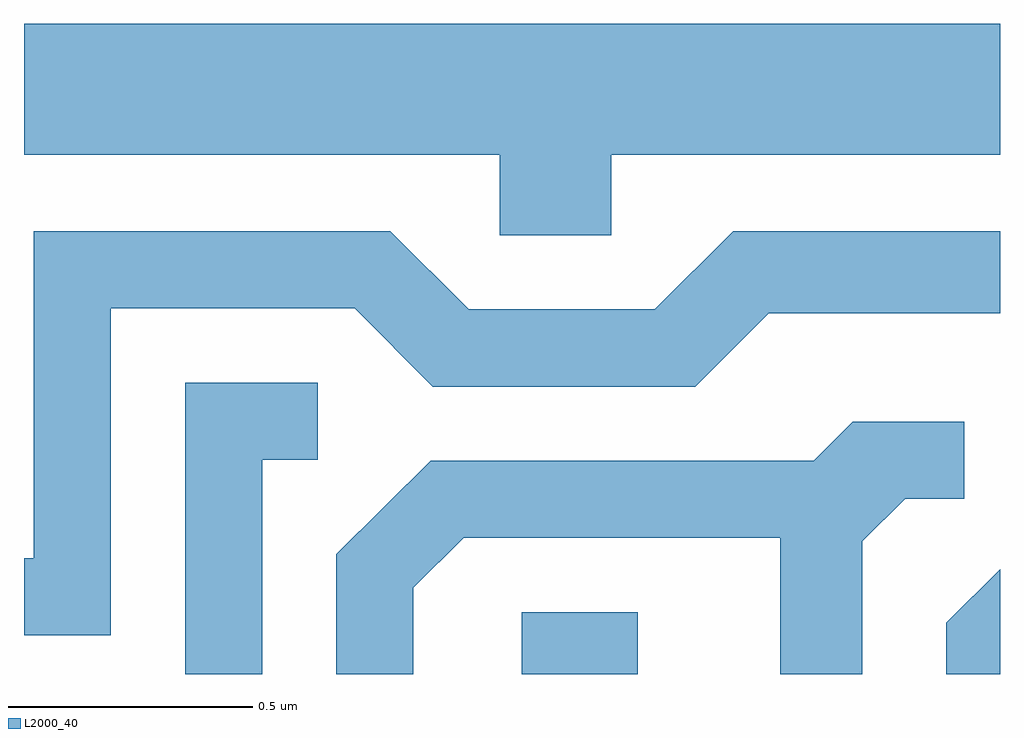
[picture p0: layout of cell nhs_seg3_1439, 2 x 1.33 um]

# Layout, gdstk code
import gdstk
lib = gdstk.Library(unit=1e-6, precision=1e-09)
def R(c, l, rs):  # rectangles x0, y0, x1, y1
    for r in rs: c.add(gdstk.rectangle(r[:2], r[2:], *l))
def P(c, l, *ps):  # polygons
    for p in ps: c.add(gdstk.Polygon(p, *l))
L2000_40 = (2000, 40)

nhs_seg3_1439 = lib.new_cell('nhs_seg3_1439')
R(nhs_seg3_1439, L2000_40, [(196.631,1184.892,196.869,1185.019)])
P(nhs_seg3_1439, L2000_40, [(196.814,1185.956),(197.611,1185.956),(197.611,1186.224),(195.611,1186.224),(195.611,1185.956),(196.586,1185.956),(196.586,1185.791),(196.814,1185.791)],
  [(195.789,1185.641),(196.289,1185.641),(196.449,1185.481),(196.987,1185.481),(197.137,1185.631),(197.611,1185.631),(197.611,1185.799),(197.064,1185.799),(196.904,1185.639),(196.522,1185.639),(196.362,1185.799),(195.631,1185.799),(195.631,1185.129),(195.611,1185.129),(195.611,1184.971),(195.789,1184.971)],
  [(196.099,1185.331),(196.213,1185.331),(196.213,1185.489),(195.941,1185.489),(195.941,1184.892),(196.099,1184.892)],
  [(196.409,1185.069),(196.512,1185.171),(197.161,1185.171),(197.161,1184.892),(197.329,1184.892),(197.329,1185.164),(197.417,1185.251),(197.538,1185.251),(197.538,1185.409),(197.309,1185.409),(197.229,1185.329),(196.444,1185.329),(196.251,1185.137),(196.251,1184.892),(196.409,1184.892)],
  [(197.611,1185.107),(197.501,1184.997),(197.501,1184.892),(197.611,1184.892)])

lib.write_gds('nhs_seg3_1439.gds')
